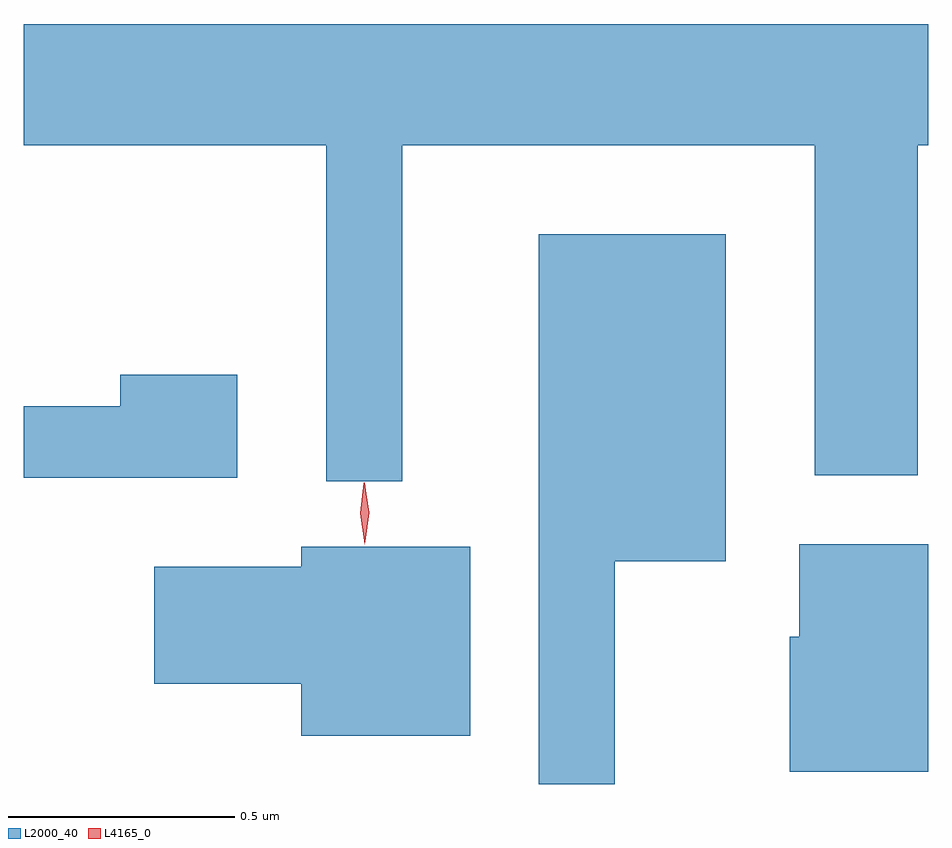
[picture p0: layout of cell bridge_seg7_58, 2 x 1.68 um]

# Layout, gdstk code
import gdstk
lib = gdstk.Library(unit=1e-6, precision=1e-09)
def P(c, l, *ps):  # polygons
    for p in ps: c.add(gdstk.Polygon(p, *l))
L2000_40 = (2000, 40)
L4165_0 = (4165, 0)

bridge_seg7_58 = lib.new_cell('bridge_seg7_58')
P(bridge_seg7_58, L2000_40, [(1660.739,1745.396),(1661.651,1745.396),(1661.651,1744.666),(1661.879,1744.666),(1661.879,1745.396),(1661.902,1745.396),(1661.902,1745.664),(1659.902,1745.664),(1659.902,1745.396),(1660.571,1745.396),(1660.571,1744.653),(1660.739,1744.653)],
  [(1661.209,1744.476),(1661.454,1744.476),(1661.454,1745.199),(1661.041,1745.199),(1661.041,1743.984),(1661.209,1743.984)],
  [(1660.374,1744.889),(1660.116,1744.889),(1660.116,1744.819),(1659.902,1744.819),(1659.902,1744.661),(1660.374,1744.661)],
  [(1661.902,1744.514),(1661.616,1744.514),(1661.616,1744.309),(1661.596,1744.309),(1661.596,1744.011),(1661.902,1744.011)],
  [(1660.889,1744.509),(1660.516,1744.509),(1660.516,1744.464),(1660.191,1744.464),(1660.191,1744.206),(1660.516,1744.206),(1660.516,1744.091),(1660.889,1744.091)])
P(bridge_seg7_58, L4165_0, [(1660.656,1744.521),(1660.646,1744.584),(1660.655,1744.647),(1660.655,1744.647),(1660.656,1744.647),(1660.666,1744.584),(1660.657,1744.521),(1660.657,1744.521)],
  [(1660.656,1744.514),(1660.656,1744.514),(1660.646,1744.582),(1660.654,1744.65),(1660.655,1744.65),(1660.656,1744.65),(1660.665,1744.582),(1660.656,1744.514)])

lib.write_gds('bridge_seg7_58.gds')
